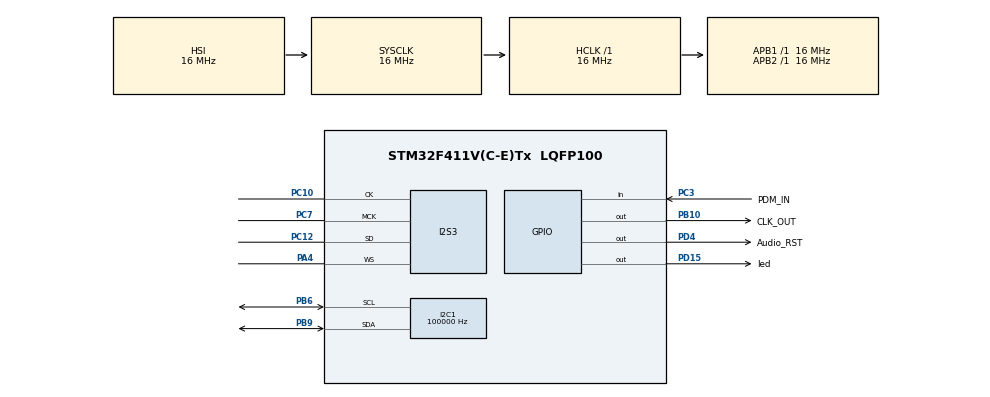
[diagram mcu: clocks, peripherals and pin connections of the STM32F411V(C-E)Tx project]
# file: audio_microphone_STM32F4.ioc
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I2C1.ClockSpeed=100000
I2C1.I2C_Mode=I2C_Fast
I2C1.OwnAddress=99
I2S3.AudioFreq=I2S_AUDIOFREQ_48K
I2S3.ErrorAudioFreq=-2.34 %
I2S3.FullDuplexMode=I2S_FULLDUPLEXMODE_DISABLE
I2S3.Instance=SPI$Index
I2S3.RealAudioFreq=46.875 KHz
I2S3.VirtualMode=I2S_MODE_MASTER
Mcu.Family=STM32F4
Mcu.Name=STM32F411V(C-E)Tx
Mcu.Package=LQFP100
NVIC.PriorityGroup=NVIC_PRIORITYGROUP_4
PA4.Mode=Half_Duplex_Master
PA4.Signal=I2S3_WS
PB10.GPIO_Label=CLK_OUT
PB10.Signal=GPIO_Output
PB6.GPIO_PuPdOD=GPIO_NOPULL
PB6.Mode=I2C
PB6.Signal=I2C1_SCL
PB9.GPIO_PuPdOD=GPIO_NOPULL
PB9.Mode=I2C
PB9.Signal=I2C1_SDA
PC10.Mode=Half_Duplex_Master
PC10.Signal=I2S3_CK
PC12.Mode=Half_Duplex_Master
PC12.Signal=I2S3_SD
PC3.GPIO_Label=PDM_IN
PC3.Signal=GPIO_Input
PC7.Mode=Master_Clock_Activated
PC7.Signal=I2S3_MCK
PD15.GPIO_Label=led
PD15.Signal=GPIO_Output
PD4.GPIO_Label=Audio_RST
PD4.GPIO_PuPd=GPIO_PULLDOWN
PD4.Signal=GPIO_Output
ProjectManager.HeapSize=0x200
ProjectManager.StackSize=0x400
ProjectManager.TargetToolchain=SW4STM32
RCC.AHBFreq_Value=16000000
RCC.APB1Freq_Value=16000000
RCC.APB2Freq_Value=16000000
RCC.CortexFreq_Value=16000000
RCC.HSE_VALUE=25000000
RCC.HSI_VALUE=16000000
RCC.LSE_VALUE=32768
RCC.SYSCLKFreq_VALUE=16000000
RCC.VCOOutputFreq_Value=192000000
board=audio_microphone_STM32F4

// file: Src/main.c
/**
  ******************************************************************************
  * File Name          : main.c
  * Description        : Main program body
  ******************************************************************************
  ** This notice applies to any and all portions of this file
  * that are not between comment pairs USER CODE BEGIN and
  * USER CODE END. Other portions of this file, whether
  * inserted by the user or by software development tools
  * are owned by their respective copyright owners.
  *
  * COPYRIGHT(c) 2017 STMicroelectronics
  *
  * Redistribution and use in source and binary forms, with or without modification,
  * are permitted provided that the following conditions are met:
  *   1. Redistributions of source code must retain the above copyright notice,
  *      this list of conditions and the following disclaimer.
  *   2. Redistributions in binary form must reproduce the above copyright notice,
  *      this list of conditions and the following disclaimer in the documentation
  *      and/or other materials provided with the distribution.
  *   3. Neither the name of STMicroelectronics nor the names of its contributors
  *      may be used to endorse or promote products derived from this software
  *      without specific prior written permission.
  *
  * THIS SOFTWARE IS PROVIDED BY THE COPYRIGHT HOLDERS AND CONTRIBUTORS "AS IS"
  * AND ANY EXPRESS OR IMPLIED WARRANTIES, INCLUDING, BUT NOT LIMITED TO, THE
  * IMPLIED WARRANTIES OF MERCHANTABILITY AND FITNESS FOR A PARTICULAR PURPOSE ARE
  * DISCLAIMED. IN NO EVENT SHALL THE COPYRIGHT HOLDER OR CONTRIBUTORS BE LIABLE
  * FOR ANY DIRECT, INDIRECT, INCIDENTAL, SPECIAL, EXEMPLARY, OR CONSEQUENTIAL
  * DAMAGES (INCLUDING, BUT NOT LIMITED TO, PROCUREMENT OF SUBSTITUTE GOODS OR
  * SERVICES; LOSS OF USE, DATA, OR PROFITS; OR BUSINESS INTERRUPTION) HOWEVER
  * CAUSED AND ON ANY THEORY OF LIABILITY, WHETHER IN CONTRACT, STRICT LIABILITY,
  * OR TORT (INCLUDING NEGLIGENCE OR OTHERWISE) ARISING IN ANY WAY OUT OF THE USE
  * OF THIS SOFTWARE, EVEN IF ADVISED OF THE POSSIBILITY OF SUCH DAMAGE.
  *
  ******************************************************************************
  */
#include "main.h"
#include "stm32f4xx_hal.h"

I2C_HandleTypeDef hi2c1;

I2S_HandleTypeDef hi2s3;

/* USER CODE BEGIN PV */
/* Private variables ---------------------------------------------------------*/
#define CORE_I2C_ADDRESS 0x33
#define CODEC_I2C_ADDRESS 0x94

#define CODEC_MAPBYTE_INC 0x80
//register map bytes for CS42L22 (see page 35)
#define CODEC_MAP_CHIP_ID 				0x01
#define CODEC_MAP_PWR_CTRL1 			0x02
#define CODEC_MAP_PWR_CTRL2 			0x04
#define CODEC_MAP_CLK_CTRL  			0x05
#define CODEC_MAP_IF_CTRL1  			0x06
#define CODEC_MAP_IF_CTRL2  			0x07
#define CODEC_MAP_PASSTHROUGH_A_SELECT 	0x08
#define CODEC_MAP_PASSTHROUGH_B_SELECT 	0x09
#define CODEC_MAP_ANALOG_SET 			0x0A
#define CODEC_MAP_PASSTHROUGH_GANG_CTRL 0x0C
#define CODEC_MAP_PLAYBACK_CTRL1 		0x0D
#define CODEC_MAP_MISC_CTRL 			0x0E
#define CODEC_MAP_PLAYBACK_CTRL2 		0x0F
#define CODEC_MAP_PASSTHROUGH_A_VOL 	0x14
#define CODEC_MAP_PASSTHROUGH_B_VOL 	0x15
#define CODEC_MAP_PCMA_VOL 				0x1A
#define CODEC_MAP_PCMB_VOL 				0x1B
#define CODEC_MAP_BEEP_FREQ_ONTIME 		0x1C
#define CODEC_MAP_BEEP_VOL_OFFTIME 		0x1D
#define CODEC_MAP_BEEP_TONE_CFG 		0x1E
#define CODEC_MAP_TONE_CTRL 			0x1F
#define CODEC_MAP_MASTER_A_VOL 			0x20
#define CODEC_MAP_MASTER_B_VOL 			0x21
#define CODEC_MAP_HP_A_VOL 				0x22
#define CODEC_MAP_HP_B_VOL 				0x23
#define CODEC_MAP_SPEAK_A_VOL 			0x24
#define CODEC_MAP_SPEAK_B_VOL 			0x25
#define CODEC_MAP_CH_MIX_SWAP 			0x26
#define CODEC_MAP_LIMIT_CTRL1 			0x27
#define CODEC_MAP_LIMIT_CTRL2 			0x28
#define CODEC_MAP_LIMIT_ATTACK 			0x29
#define CODEC_MAP_OVFL_CLK_STATUS 		0x2E
#define CODEC_MAP_BATT_COMP 			0x2F
#define CODEC_MAP_VP_BATT_LEVEL 		0x30
#define CODEC_MAP_SPEAK_STATUS 			0x31
#define CODEC_MAP_CHARGE_PUMP_FREQ 		0x34
/* USER CODE END PV */

void SystemClock_Config(void);
static void MX_GPIO_Init(void);
static void MX_I2S3_Init(void);
static void MX_I2C1_Init(void);

/* USER CODE BEGIN PFP */
/* Private function prototypes -----------------------------------------------*/

/* USER CODE END PFP */

int main(void)
{

  /* MCU Configuration----------------------------------------------------------*/

  /* Reset of all peripherals, Initializes the Flash interface and the Systick. */
  HAL_Init();

  /* Configure the system clock */
  SystemClock_Config();

  /* Initialize all configured peripherals */
  MX_GPIO_Init();
  MX_I2S3_Init();
  MX_I2C1_Init();

  /* Infinite loop */
  while (1)
  {

  }

}

/** System Clock Configuration
*/
void SystemClock_Config(void)
{

  RCC_OscInitTypeDef RCC_OscInitStruct;
  RCC_ClkInitTypeDef RCC_ClkInitStruct;
  RCC_PeriphCLKInitTypeDef PeriphClkInitStruct;

    /**Macro to configure the PLL multiplication factor
    */
  __HAL_RCC_PLL_PLLM_CONFIG(16);

    /**Macro to configure the PLL clock source
    */
  __HAL_RCC_PLL_PLLSOURCE_CONFIG(RCC_PLLSOURCE_HSI);

    /**Configure the main internal regulator output voltage
    */
  __HAL_RCC_PWR_CLK_ENABLE();

  __HAL_PWR_VOLTAGESCALING_CONFIG(PWR_REGULATOR_VOLTAGE_SCALE1);

    /**Initializes the CPU, AHB and APB busses clocks
    */
  RCC_OscInitStruct.OscillatorType = RCC_OSCILLATORTYPE_HSI;
  RCC_OscInitStruct.HSIState = RCC_HSI_ON;
  RCC_OscInitStruct.HSICalibrationValue = 16;
  RCC_OscInitStruct.PLL.PLLState = RCC_PLL_NONE;
  if (HAL_RCC_OscConfig(&RCC_OscInitStruct) != HAL_OK)
  {
    _Error_Handler(__FILE__, __LINE__);
  }

    /**Initializes the CPU, AHB and APB busses clocks
    */
  RCC_ClkInitStruct.ClockType = RCC_CLOCKTYPE_HCLK|RCC_CLOCKTYPE_SYSCLK
                              |RCC_CLOCKTYPE_PCLK1|RCC_CLOCKTYPE_PCLK2;
  RCC_ClkInitStruct.SYSCLKSource = RCC_SYSCLKSOURCE_HSI;
  RCC_ClkInitStruct.AHBCLKDivider = RCC_SYSCLK_DIV1;
  RCC_ClkInitStruct.APB1CLKDivider = RCC_HCLK_DIV1;
  RCC_ClkInitStruct.APB2CLKDivider = RCC_HCLK_DIV1;

  if (HAL_RCC_ClockConfig(&RCC_ClkInitStruct, FLASH_LATENCY_0) != HAL_OK)
  {
    _Error_Handler(__FILE__, __LINE__);
  }

  PeriphClkInitStruct.PeriphClockSelection = RCC_PERIPHCLK_I2S;
  PeriphClkInitStruct.PLLI2S.PLLI2SN = 192;
  PeriphClkInitStruct.PLLI2S.PLLI2SM = 16;
  PeriphClkInitStruct.PLLI2S.PLLI2SR = 2;
  if (HAL_RCCEx_PeriphCLKConfig(&PeriphClkInitStruct) != HAL_OK)
  {
    _Error_Handler(__FILE__, __LINE__);
  }

    /**Configure the Systick interrupt time
    */
  HAL_SYSTICK_Config(HAL_RCC_GetHCLKFreq()/1000);

    /**Configure the Systick
    */
  HAL_SYSTICK_CLKSourceConfig(SYSTICK_CLKSOURCE_HCLK);

  /* SysTick_IRQn interrupt configuration */
  HAL_NVIC_SetPriority(SysTick_IRQn, 0, 0);
}

/* I2C1 init function */
static void MX_I2C1_Init(void)
{

  hi2c1.Instance = I2C1;
  hi2c1.Init.ClockSpeed = 100000;
  hi2c1.Init.DutyCycle = I2C_DUTYCYCLE_2;
  hi2c1.Init.OwnAddress1 = 198;
  hi2c1.Init.AddressingMode = I2C_ADDRESSINGMODE_7BIT;
  hi2c1.Init.DualAddressMode = I2C_DUALADDRESS_DISABLE;
  hi2c1.Init.OwnAddress2 = 0;
  hi2c1.Init.GeneralCallMode = I2C_GENERALCALL_DISABLE;
  hi2c1.Init.NoStretchMode = I2C_NOSTRETCH_DISABLE;
  if (HAL_I2C_Init(&hi2c1) != HAL_OK)
  {
    _Error_Handler(__FILE__, __LINE__);
  }

}

/* I2S3 init function */
static void MX_I2S3_Init(void)
{

  hi2s3.Instance = SPI3;
  hi2s3.Init.Mode = I2S_MODE_MASTER_TX;
  hi2s3.Init.Standard = I2S_STANDARD_PHILIPS;
  hi2s3.Init.DataFormat = I2S_DATAFORMAT_16B;
  hi2s3.Init.MCLKOutput = I2S_MCLKOUTPUT_ENABLE;
  hi2s3.Init.AudioFreq = I2S_AUDIOFREQ_48K;
  hi2s3.Init.CPOL = I2S_CPOL_LOW;
  hi2s3.Init.ClockSource = I2S_CLOCK_PLL;
  hi2s3.Init.FullDuplexMode = I2S_FULLDUPLEXMODE_DISABLE;
  if (HAL_I2S_Init(&hi2s3) != HAL_OK)
  {
    _Error_Handler(__FILE__, __LINE__);
  }

}

/** Configure pins as
        * Analog
        * Input
        * Output
        * EVENT_OUT
        * EXTI
*/
static void MX_GPIO_Init(void)
{

  GPIO_InitTypeDef GPIO_InitStruct;

  /* GPIO Ports Clock Enable */
  __HAL_RCC_GPIOA_CLK_ENABLE();
  __HAL_RCC_GPIOD_CLK_ENABLE();
  __HAL_RCC_GPIOC_CLK_ENABLE();
  __HAL_RCC_GPIOB_CLK_ENABLE();

  /*Configure GPIO pin Output Level */
  HAL_GPIO_WritePin(GPIOD, led_Pin|Audio_RST_Pin, GPIO_PIN_RESET);

  /*Configure GPIO pin : led_Pin */
  GPIO_InitStruct.Pin = led_Pin;
  GPIO_InitStruct.Mode = GPIO_MODE_OUTPUT_PP;
  GPIO_InitStruct.Pull = GPIO_NOPULL;
  GPIO_InitStruct.Speed = GPIO_SPEED_FREQ_LOW;
  HAL_GPIO_Init(led_GPIO_Port, &GPIO_InitStruct);

  /*Configure GPIO pin : Audio_RST_Pin */
  GPIO_InitStruct.Pin = Audio_RST_Pin;
  GPIO_InitStruct.Mode = GPIO_MODE_OUTPUT_PP;
  GPIO_InitStruct.Pull = GPIO_PULLDOWN;
  GPIO_InitStruct.Speed = GPIO_SPEED_FREQ_LOW;
  HAL_GPIO_Init(Audio_RST_GPIO_Port, &GPIO_InitStruct);

}

void _Error_Handler(char * file, int line)
{
  while(1)
  {
  }
}

/************************ (C) COPYRIGHT STMicroelectronics *****END OF FILE****/
